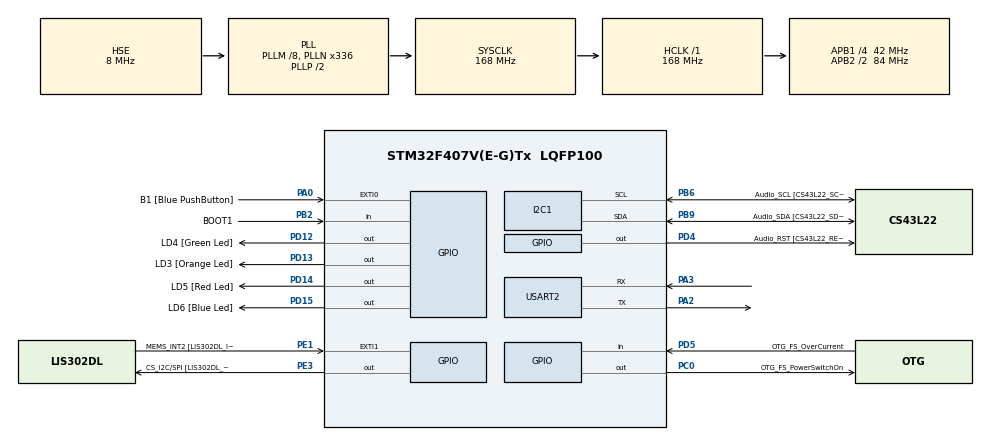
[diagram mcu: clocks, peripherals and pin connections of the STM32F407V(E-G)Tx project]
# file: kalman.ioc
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Mcu.Family=STM32F4
Mcu.Name=STM32F407V(E-G)Tx
Mcu.Package=LQFP100
NVIC.PriorityGroup=NVIC_PRIORITYGROUP_0
PA0-WKUP.GPIO_Label=B1 [Blue PushButton]
PA0-WKUP.GPIO_ModeDefaultEXTI=GPIO_MODE_EVT_RISING
PA0-WKUP.GPIO_PuPd=GPIO_NOPULL
PA0-WKUP.Signal=GPXTI0
PA10.GPIO_Label=OTG_FS_ID
PA10.GPIO_Mode=GPIO_MODE_AF_PP
PA10.GPIO_PuPd=GPIO_NOPULL
PA10.GPIO_Speed=GPIO_SPEED_FREQ_LOW
PA10.Signal=USB_OTG_FS_ID
PA11.GPIO_Label=OTG_FS_DM
PA11.GPIO_Mode=GPIO_MODE_AF_PP
PA11.GPIO_PuPd=GPIO_NOPULL
PA11.GPIO_Speed=GPIO_SPEED_FREQ_LOW
PA11.Signal=USB_OTG_FS_DM
PA12.GPIO_Label=OTG_FS_DP
PA12.GPIO_Mode=GPIO_MODE_AF_PP
PA12.GPIO_PuPd=GPIO_NOPULL
PA12.GPIO_Speed=GPIO_SPEED_FREQ_LOW
PA12.Signal=USB_OTG_FS_DP
PA13.GPIO_Label=SWDIO
PA13.Mode=Serial_Wire
PA13.Signal=SYS_JTMS-SWDIO
PA14.GPIO_Label=SWCLK
PA14.Mode=Serial_Wire
PA14.Signal=SYS_JTCK-SWCLK
PA2.Mode=Asynchronous
PA2.Signal=USART2_TX
PA3.Mode=Asynchronous
PA3.Signal=USART2_RX
PA4.GPIO_Label=I2S3_WS [CS43L22_LRCK]
PA4.GPIO_Mode=GPIO_MODE_AF_PP
PA4.GPIO_PuPd=GPIO_NOPULL
PA4.GPIO_Speed=GPIO_SPEED_FREQ_LOW
PA4.Signal=I2S3_WS
PA5.GPIO_Label=SPI1_SCK [LIS302DL_SCL/SPC]
PA5.GPIO_Mode=GPIO_MODE_AF_PP
PA5.GPIO_PuPd=GPIO_NOPULL
PA5.GPIO_Speed=GPIO_SPEED_FREQ_LOW
PA5.Signal=SPI1_SCK
PA6.GPIO_Label=SPI1_MISO [LIS302DL_SDO]
PA6.GPIO_Mode=GPIO_MODE_AF_PP
PA6.GPIO_PuPd=GPIO_NOPULL
PA6.GPIO_Speed=GPIO_SPEED_FREQ_LOW
PA6.Signal=SPI1_MISO
PA7.GPIO_Label=SPI1_MOSI [LIS302DL_SDA/SDI/SDO]
PA7.GPIO_Mode=GPIO_MODE_AF_PP
PA7.GPIO_PuPd=GPIO_NOPULL
PA7.GPIO_Speed=GPIO_SPEED_FREQ_LOW
PA7.Signal=SPI1_MOSI
PA9.GPIO_Label=VBUS_FS
PA9.GPIO_Mode=GPIO_MODE_INPUT
PA9.GPIO_PuPd=GPIO_NOPULL
PA9.Signal=USB_OTG_FS_VBUS
PB10.GPIO_Label=CLK_IN [MP45DT02_CLK]
PB10.GPIO_Mode=GPIO_MODE_AF_PP
PB10.GPIO_PuPd=GPIO_NOPULL
PB10.GPIO_Speed=GPIO_SPEED_FREQ_LOW
PB10.Signal=I2S2_CK
PB2.GPIO_Label=BOOT1
PB2.GPIO_Mode=GPIO_MODE_INPUT
PB2.GPIO_PuPd=GPIO_NOPULL
PB2.Signal=GPIO_Input
PB3.GPIO_Label=SWO
PB3.Signal=SYS_JTDO-SWO
PB6.GPIO_Label=Audio_SCL [CS43L22_SCL]
PB6.GPIO_Mode=GPIO_MODE_AF_OD
PB6.GPIO_PuPd=GPIO_NOPULL
PB6.GPIO_Speed=GPIO_SPEED_FREQ_LOW
PB6.Mode=I2C
PB6.Signal=I2C1_SCL
PB9.GPIO_Label=Audio_SDA [CS43L22_SDA]
PB9.GPIO_Mode=GPIO_MODE_AF_OD
PB9.GPIO_PuPd=GPIO_NOPULL
PB9.GPIO_Speed=GPIO_SPEED_FREQ_LOW
PB9.Mode=I2C
PB9.Signal=I2C1_SDA
PC0.GPIO_Label=OTG_FS_PowerSwitchOn
PC0.GPIO_PuPd=GPIO_NOPULL
PC0.GPIO_Speed=GPIO_SPEED_FREQ_LOW
PC0.PinState=GPIO_PIN_SET
PC0.Signal=GPIO_Output
PC10.GPIO_Label=I2S3_SCK [CS43L22_SCLK]
PC10.GPIO_Mode=GPIO_MODE_AF_PP
PC10.GPIO_PuPd=GPIO_NOPULL
PC10.GPIO_Speed=GPIO_SPEED_FREQ_LOW
PC10.Signal=I2S3_CK
PC12.GPIO_Label=I2S3_SD [CS43L22_SDIN]
PC12.GPIO_Mode=GPIO_MODE_AF_PP
PC12.GPIO_PuPd=GPIO_NOPULL
PC12.GPIO_Speed=GPIO_SPEED_FREQ_LOW
PC12.Signal=I2S3_SD
PC14-OSC32_IN.GPIO_Label=PC14-OSC32_IN
PC14-OSC32_IN.Signal=RCC_OSC32_IN
PC15-OSC32_OUT.GPIO_Label=PC15-OSC32_OUT
PC15-OSC32_OUT.Signal=RCC_OSC32_OUT
PC3.GPIO_Label=PDM_OUT [MP45DT02_DOUT]
PC3.GPIO_Mode=GPIO_MODE_AF_PP
PC3.GPIO_PuPd=GPIO_NOPULL
PC3.GPIO_Speed=GPIO_SPEED_FREQ_LOW
PC3.Signal=I2S2_SD
PC7.GPIO_Label=I2S3_MCK [CS43L22_MCLK]
PC7.GPIO_Mode=GPIO_MODE_AF_PP
PC7.GPIO_PuPd=GPIO_NOPULL
PC7.GPIO_Speed=GPIO_SPEED_FREQ_LOW
PC7.Signal=I2S3_MCK
PD12.GPIO_Label=LD4 [Green Led]
PD12.GPIO_PuPd=GPIO_NOPULL
PD12.GPIO_Speed=GPIO_SPEED_FREQ_LOW
PD12.Signal=GPIO_Output
PD13.GPIO_Label=LD3 [Orange Led]
PD13.GPIO_PuPd=GPIO_NOPULL
PD13.GPIO_Speed=GPIO_SPEED_FREQ_LOW
PD13.Signal=GPIO_Output
PD14.GPIO_Label=LD5 [Red Led]
PD14.GPIO_PuPd=GPIO_NOPULL
PD14.GPIO_Speed=GPIO_SPEED_FREQ_LOW
PD14.Signal=GPIO_Output
PD15.GPIO_Label=LD6 [Blue Led]
PD15.GPIO_PuPd=GPIO_NOPULL
PD15.GPIO_Speed=GPIO_SPEED_FREQ_LOW
PD15.Signal=GPIO_Output
PD4.GPIO_Label=Audio_RST [CS43L22_RESET]
PD4.GPIO_PuPd=GPIO_NOPULL
PD4.GPIO_Speed=GPIO_SPEED_FREQ_LOW
PD4.Signal=GPIO_Output
PD5.GPIO_Label=OTG_FS_OverCurrent
PD5.GPIO_Mode=GPIO_MODE_INPUT
PD5.GPIO_PuPd=GPIO_NOPULL
PD5.Signal=GPIO_Input
PE1.GPIO_Label=MEMS_INT2 [LIS302DL_INT2]
PE1.GPIO_ModeDefaultEXTI=GPIO_MODE_EVT_RISING
PE1.GPIO_PuPd=GPIO_NOPULL
PE1.Signal=GPXTI1
PE3.GPIO_Label=CS_I2C/SPI [LIS302DL_CS_I2C/SPI]
PE3.GPIO_PuPd=GPIO_NOPULL
PE3.GPIO_Speed=GPIO_SPEED_FREQ_LOW
PE3.Signal=GPIO_Output
PH0-OSC_IN.GPIO_Label=PH0-OSC_IN
PH0-OSC_IN.Mode=HSE-External-Oscillator
PH0-OSC_IN.Signal=RCC_OSC_IN
PH1-OSC_OUT.GPIO_Label=PH1-OSC_OUT
PH1-OSC_OUT.Mode=HSE-External-Oscillator
PH1-OSC_OUT.Signal=RCC_OSC_OUT
ProjectManager.HeapSize=0x200
ProjectManager.StackSize=0x400
ProjectManager.TargetToolchain=SW4STM32
RCC.48MHZClocksFreq_Value=48000000
RCC.AHBFreq_Value=168000000
RCC.APB1CLKDivider=RCC_HCLK_DIV4
RCC.APB1Freq_Value=42000000
RCC.APB1TimFreq_Value=84000000
RCC.APB2CLKDivider=RCC_HCLK_DIV2
RCC.APB2Freq_Value=84000000
RCC.APB2TimFreq_Value=168000000
RCC.CortexFreq_Value=168000000
RCC.HCLKFreq_Value=168000000
RCC.HSE_VALUE=8000000
RCC.HSI_VALUE=16000000
RCC.LSE_VALUE=32768
RCC.PLLM=8
RCC.PLLN=336
RCC.PLLQ=7
RCC.PLLSourceVirtual=RCC_PLLSOURCE_HSE
RCC.SYSCLKFreq_VALUE=168000000
RCC.SYSCLKSource=RCC_SYSCLKSOURCE_PLLCLK
RCC.VCOOutputFreq_Value=336000000
USART2.VirtualMode=VM_ASYNC
board=STM32F407G-DISC1

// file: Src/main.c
/* USER CODE BEGIN Header */
/**
 ******************************************************************************
 * @file           : main.c
 * @brief          : Main program body
 ******************************************************************************
 * @attention
 *
 * <h2><center>&copy; Copyright (c) 2019 STMicroelectronics.
 * All rights reserved.</center></h2>
 *
 * This software component is licensed by ST under BSD 3-Clause license,
 * the "License"; You may not use this file except in compliance with the
 * License. You may obtain a copy of the License at:
 *                        opensource.org/licenses/BSD-3-Clause
 *
 ******************************************************************************
 */
/* USER CODE END Header */

#include "main.h"
#include "i2c.h"
#include "usart.h"
#include "gpio.h"

/* USER CODE BEGIN Includes */
#include "BMX055.h"
/* USER CODE END Includes */

void SystemClock_Config(void);

int main(void) {

	/* MCU Configuration--------------------------------------------------------*/

	/* Reset of all peripherals, Initializes the Flash interface and the Systick. */
	HAL_Init();

	/* Configure the system clock */
	SystemClock_Config();

	/* Initialize all configured peripherals */
	MX_GPIO_Init();
	MX_I2C1_Init();
	MX_USART2_UART_Init();
	/* USER CODE BEGIN 2 */
	println("Hello World!");

	HAL_StatusTypeDef ret;
	ACCL_PMU_LPW_REG a_pmu_lpw;
	a_pmu_lpw.data = 0;
	ret = BMX055_InitAccl(RANGE_2G, BW_1000_Hz, a_pmu_lpw);
	println("%d", ret);
	if (ret != HAL_OK) {
		while(1);
	}

	GYRO_LPM1_REG g_lpm;
	g_lpm.data = 0;
	ret = BMX055_InitGyro(RANGE_250DPS, BW_116_Hz, g_lpm);
	println("%d", ret);
	if (ret != HAL_OK) {
		while(1);
	}

	ACCL_DATA accl_data;
	GYRO_DATA gyro_data;

	int i;
	for (i =0; i<200; i++) {
		BMX055_GetAccl(ACCL_X_LSB, &accl_data);
		println("%f, %f", accl_data.accl_y, accl_data.accl_z);
		//HAL_Delay(10);
	}
	/* USER CODE END 2 */

	/* Infinite loop */
	/* USER CODE BEGIN WHILE */
	while (1) {
		/*
		BMX055_GetAccl(ACCL_X_LSB, &accl_data);
		println("%f, %f, %f", accl_data.accl_x, accl_data.accl_y, accl_data.accl_z);

		BMX055_GetGyro(GYRO_X_LSB, &gyro_data);
		//println("%f, %f, %f", gyro_data.gyro_x, gyro_data.gyro_y, gyro_data.gyro_z);
		degree_x += gyro_data.gyro_x * 0.01;
		println("%f", degree_x);
		HAL_Delay(10);
		*/
		/* USER CODE END WHILE */

	}
}

void SystemClock_Config(void) {
	RCC_OscInitTypeDef RCC_OscInitStruct = { 0 };
	RCC_ClkInitTypeDef RCC_ClkInitStruct = { 0 };

	/** Configure the main internal regulator output voltage
	 */
	__HAL_RCC_PWR_CLK_ENABLE()
	;
	__HAL_PWR_VOLTAGESCALING_CONFIG(PWR_REGULATOR_VOLTAGE_SCALE1);
	/** Initializes the CPU, AHB and APB busses clocks
	 */
	RCC_OscInitStruct.OscillatorType = RCC_OSCILLATORTYPE_HSE;
	RCC_OscInitStruct.HSEState = RCC_HSE_ON;
	RCC_OscInitStruct.PLL.PLLState = RCC_PLL_ON;
	RCC_OscInitStruct.PLL.PLLSource = RCC_PLLSOURCE_HSE;
	RCC_OscInitStruct.PLL.PLLM = 8;
	RCC_OscInitStruct.PLL.PLLN = 336;
	RCC_OscInitStruct.PLL.PLLP = RCC_PLLP_DIV2;
	RCC_OscInitStruct.PLL.PLLQ = 7;
	if (HAL_RCC_OscConfig(&RCC_OscInitStruct) != HAL_OK) {
		Error_Handler();
	}
	/** Initializes the CPU, AHB and APB busses clocks
	 */
	RCC_ClkInitStruct.ClockType = RCC_CLOCKTYPE_HCLK | RCC_CLOCKTYPE_SYSCLK | RCC_CLOCKTYPE_PCLK1
			| RCC_CLOCKTYPE_PCLK2;
	RCC_ClkInitStruct.SYSCLKSource = RCC_SYSCLKSOURCE_PLLCLK;
	RCC_ClkInitStruct.AHBCLKDivider = RCC_SYSCLK_DIV1;
	RCC_ClkInitStruct.APB1CLKDivider = RCC_HCLK_DIV4;
	RCC_ClkInitStruct.APB2CLKDivider = RCC_HCLK_DIV2;

	if (HAL_RCC_ClockConfig(&RCC_ClkInitStruct, FLASH_LATENCY_5) != HAL_OK) {
		Error_Handler();
	}
}

void Error_Handler(void) {
}

/************************ (C) COPYRIGHT STMicroelectronics *****END OF FILE****/
